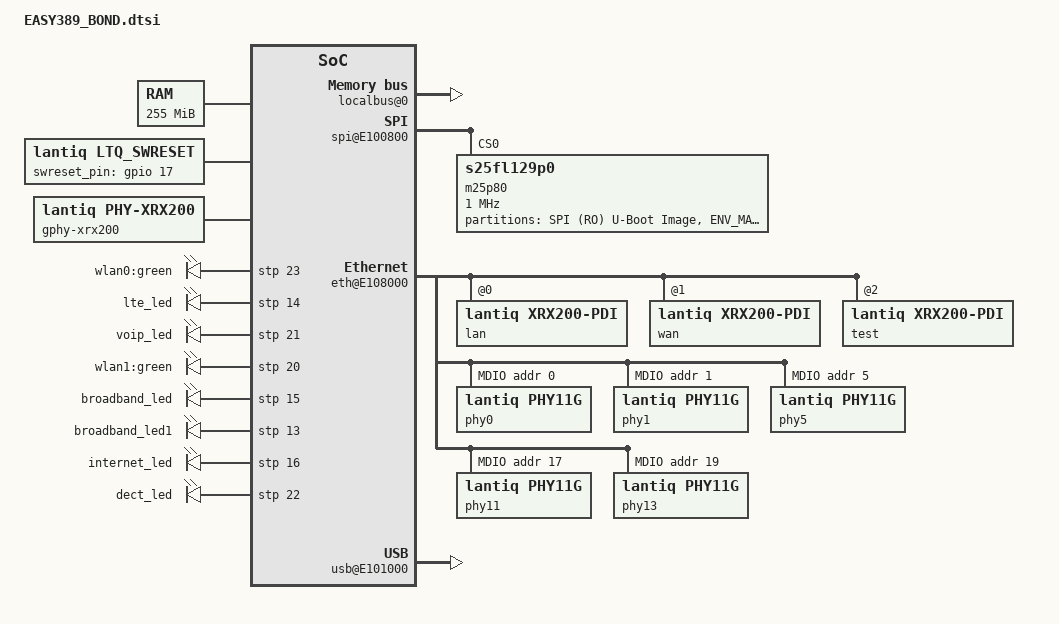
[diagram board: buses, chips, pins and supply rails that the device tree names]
/include/ "xRX330.dtsi"

/ {
	chosen {
		//bootargs = "console=ttyLTQ0,115200 pci=pcie_bus_perf init=/etc/preinit";
	};

	memory@0 {
		reg = <0x0 0xff00000>;
	};

	fpi@10000000 {
		#address-cells = <1>;
		#size-cells = <1>;
		compatible = "lantiq,fpi", "simple-bus";
		ranges = <0x0 0x10000000 0xFF00000>;
		reg = <0x10000000 0xFF00000>;

		localbus@0 {
			#address-cells = <2>;
			#size-cells = <1>;
			compatible = "lantiq,localbus", "simple-bus";

		};

		spi@E100800 {
			compatible = "lantiq,spi-xway-broken", "lantiq,spi-ssc";
			reg = <0xE100800 0x100>;
			interrupt-parent = <&icu0>;
			interrupts = <22 23 24>;
			#address-cells = <1>;
			#size-cells = <1>;

			m25p80@0 {
				#address-cells = <1>;
				#size-cells = <1>;
				compatible = "s25fl129p0";
				reg = <0 0>;
				linux,modalias = "m25p80", "mx25l3205d";
				spi-max-frequency = <1000000>;

				partition@0 {
					reg = <0x0 0x20000>;
					label = "SPI (RO) U-Boot Image";
					read-only;
				};

				partition@20000 {
					reg = <0x20000 0x10000>;
					label = "ENV_MAC";
					read-only;
				};

				partition@30000 {
					reg = <0x30000 0x10000>;
					label = "DPF";
					read-only;
				};

				partition@40000 {
					reg = <0x40000 0x10000>;
					label = "NVRAM";
					read-only;
				};

				partition@500000 {
					reg = <0x50000 0x003a0000>;
					label = "kernel";
				};
			};
		};

		gpio: pinmux@E100B10 {
			compatible = "lantiq,pinctrl-ar10";
			pinctrl-names = "default";
			pinctrl-0 = <&state_default>;

			interrupt-parent = <&icu0>;
			interrupts = <166 135 66 40 41 42 38>;

			#gpio-cells = <2>;
			gpio-controller;
			reg = <0xE100B10 0xA0>;

			state_default: pinmux {
				exin3 {
					lantiq,groups = "exin3";
					lantiq,function = "exin";
				};
				stp {
					lantiq,groups = "stp";
					lantiq,function = "stp";
				};
				spi {
					lantiq,groups = "spi", "spi_cs1";
					lantiq,function = "spi";
				};
				nand {
					lantiq,groups = "nand cle", "nand ale",
							"nand rd", "nand rdy";
					lantiq,function = "ebu";
				};
				mdio {
					lantiq,groups = "mdio";
					lantiq,function = "mdio";
				};
				conf_out {
					lantiq,pins = "io24", "io13", "io49", /* nand cle, ale and rd */
							"io4", "io5", "io6", /* stp */
							"io15", "io17", "io18", /* spi */
							"io21",
							"io33";
					lantiq,open-drain = <0>;
					lantiq,pull = <0>;
					lantiq,output = <1>;
				};
				conf_in {
					lantiq,pins = "io39", /* exin3 */
							"io48", /* nand rdy */
							"io16"; /* spi in */
					lantiq,pull = <2>;
				};
			};
		};

		eth@E108000 {
			#address-cells = <1>;
			#size-cells = <0>;
			compatible = "lantiq,xrx200-net";
			reg = <	0xE108000 0x3000 /* switch */
				0xE10B100 0x70 /* mdio */
				0xE10B1D8 0x30 /* mii */
				0xE10B308 0x30 /* pmac */
			>;
			interrupt-parent = <&icu0>;
			interrupts = <73 72>;

			lan: interface@0 {
				compatible = "lantiq,xrx200-pdi";
				#address-cells = <1>;
				#size-cells = <0>;
				reg = <0>;
				mac-address = [ 00 11 22 33 44 55 ];

				ethernet@0 {
					compatible = "lantiq,xrx200-pdi-port";
					reg = <0>;
					phy-mode = "rgmii";
					phy-handle = <&phy0>;
				};
				ethernet@1 {
					compatible = "lantiq,xrx200-pdi-port";
					reg = <1>;
					phy-mode = "rgmii";
					phy-handle = <&phy1>;
				};
				ethernet@2 {
					compatible = "lantiq,xrx200-pdi-port";
					reg = <2>;
					phy-mode = "gmii";
					phy-handle = <&phy11>;
				};
			};

			wan: interface@1 {
				compatible = "lantiq,xrx200-pdi";
				#address-cells = <1>;
				#size-cells = <0>;
				reg = <1>;
				mac-address = [ 00 11 22 33 44 56 ];
				lantiq,wan;
				ethernet@5 {
					compatible = "lantiq,xrx200-pdi-port";
					reg = <5>;
					phy-mode = "rgmii";
					phy-handle = <&phy5>;
				};
			};

			test: interface@2 {
				compatible = "lantiq,xrx200-pdi";
				#address-cells = <1>;
				#size-cells = <0>;
				reg = <2>;
				mac-address = [ 00 11 22 33 44 57 ];
				ethernet@4 {
					compatible = "lantiq,xrx200-pdi-port";
					reg = <4>;
					phynmode0 = "gmii";
					phy-handle = <&phy13>;
				};
			};

			mdio@0 {
				#address-cells = <1>;
				#size-cells = <0>;
				compatible = "lantiq,xrx200-mdio";
				phy0: ethernet-phy@0 {
					reg = <0x0>;
					compatible = "lantiq,phy11g", "ethernet-phy-ieee802.3-c22";
				};
				phy1: ethernet-phy@1 {
					reg = <0x1>;
					compatible = "lantiq,phy11g", "ethernet-phy-ieee802.3-c22";
				};
				phy5: ethernet-phy@5 {
					reg = <0x5>;
					compatible = "lantiq,phy11g", "ethernet-phy-ieee802.3-c22";
				};
				phy11: ethernet-phy@11 {
					reg = <0x11>;
					compatible = "lantiq,phy11g", "ethernet-phy-ieee802.3-c22";
				};
				phy13: ethernet-phy@13 {
					reg = <0x13>;
					compatible = "lantiq,phy11g", "ethernet-phy-ieee802.3-c22";
				};
			};
		};

		eth@E108000 {
			#address-cells = <1>;
			#size-cells = <0>;
			compatible = "lantiq,xway-net";
			reg = < 0xE108000 0x3000 /* switch */
				0xE10B100 0x70 /* mdio */
				0xE10B1D8 0x30 /* mii */
				0xE10B308 0x30 /* pmac */
			>;
		};

		gswitch@E108000 {
			#address-cells = <1>;
			#size-cells = <0>;
			compatible = "lantiq,xway-gsw2x"; /*GSW2X SWAPI */
			reg = <0xE108000 0x3000>;
		};

		stp: stp@E100BB0 {
			compatible = "lantiq,gpio-stp-xway";
			reg = <0xE100BB0 0x40>;
			#gpio-cells = <2>;
			gpio-controller;

			lantiq,shadow = <0xffff>;
			lantiq,groups = <0x7>;
			/* lantiq,dsl = <0x3>; */
			/* lantiq,phy1 = <0x7>; */
			/* lantiq,phy2 = <0x7>; */
			/* lantiq,rising; */
		};

		usb@E101000 {
			status = "okay";
			vbus = <&stp 4 0> , <&stp 7 0>;
			/*led  = <&gpio 31 0> , <&gpio 30 0>;*/
			/*as_host    = <1 1>;*/
			/*oc_off     = <1 1>;*/
		};
	};

	ltq_swreset {
		compatible = "lantiq,ltq_swreset";
		swreset_pin = <&gpio 17 0>;
		swreset_bit = <1>;
		status = "okay";
	};

	gphy-xrx200 {
		compatible = "lantiq,phy-xrx200";
		firmware = "lantiq/ltq_fw_PHY11G_IP_1v5_xRx3xx_A21_R8434.bin";
		phys = [ 00 01 02 03 ];
	};

	gpio-keys-polled {
		compatible = "gpio-keys-polled";
		#address-cells = <1>;
		#size-cells = <0>;
		poll-interval = <100>;
	};

	gpio-leds {
		compatible = "gpio-leds";

		wlan0{
			label = "wlan0:green";
			gpios = <&stp 23 0>;
		};
		lte_led {
			label = "lte_led";
			gpios = <&stp 14 0>;
		};
		voip_led {
			label = "voip_led";
			gpios = <&stp 21 0>;
		};
		wlan1{
			label = "wlan1:green";
			gpios = <&stp 20 0>;
		};
		broadband_led {
			label = "broadband_led";
			gpios = <&stp 15 0>;
		};
		broadband_led1 {
			label = "broadband_led1";
			gpios = <&stp 13 0>;
		};
		internet_led {
			label = "internet_led";
			gpios = <&stp 16 0>;
		};
		dect_led {
			label = "dect_led";
			gpios = <&stp 22 0>;
		};
	};
};
